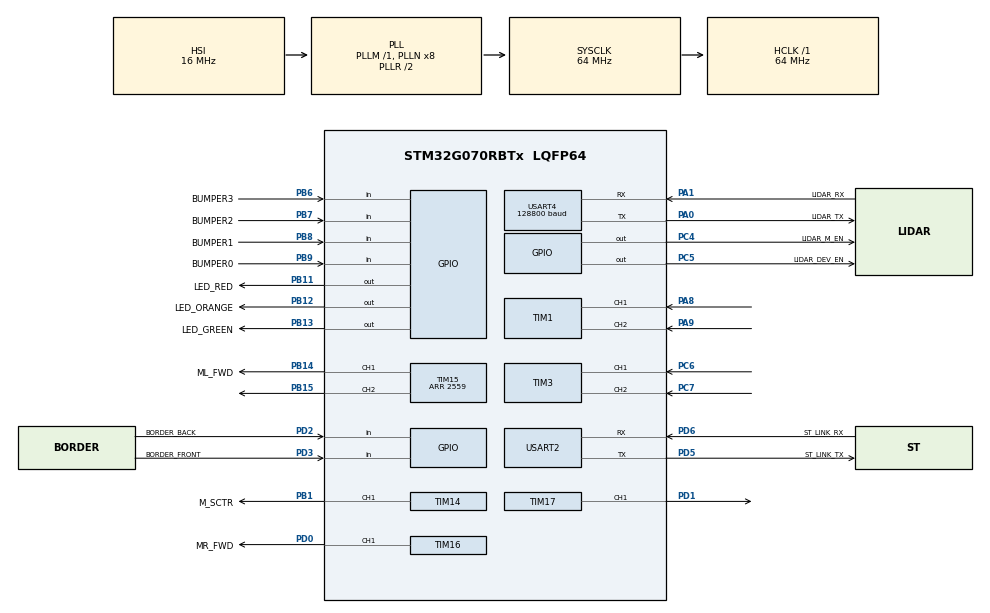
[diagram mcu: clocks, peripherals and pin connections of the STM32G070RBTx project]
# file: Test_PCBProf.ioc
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FREERTOS.Tasks01=defaultTask,0,128,StartDefaultTask,Default,NULL,Dynamic,NULL,NULL
FREERTOS.configTOTAL_HEAP_SIZE=15000
Mcu.Family=STM32G0
Mcu.Name=STM32G070RBTx
Mcu.Package=LQFP64
NVIC.TIM6_IRQn=true\:3\:0\:false\:false\:true\:false\:false\:true\:true
NVIC.TimeBase=TIM6_IRQn
NVIC.TimeBaseIP=TIM6
PA0.GPIO_Label=LIDAR_TX
PA0.Mode=Asynchronous
PA0.Signal=USART4_TX
PA1.GPIO_Label=LIDAR_RX
PA1.Mode=Asynchronous
PA1.Signal=USART4_RX
PA13.Mode=Serial_Wire
PA13.Signal=SYS_SWDIO
PA14-BOOT0.Mode=Serial_Wire
PA14-BOOT0.Signal=SYS_SWCLK
PA8.Signal=S_TIM1_CH1
PA9.Signal=S_TIM1_CH2
PB1.GPIO_Label=M_SCTR
PB1.Signal=S_TIM14_CH1
PB11.GPIO_Label=LED_RED
PB11.Signal=GPIO_Output
PB12.GPIO_Label=LED_ORANGE
PB12.Signal=GPIO_Output
PB13.GPIO_Label=LED_GREEN
PB13.Signal=GPIO_Output
PB14.GPIO_Label=ML_FWD
PB14.Signal=S_TIM15_CH1
PB15.Signal=S_TIM15_CH2
PB6.GPIO_Label=BUMPER3
PB6.Signal=GPIO_Input
PB7.GPIO_Label=BUMPER2
PB7.Signal=GPIO_Input
PB8.GPIO_Label=BUMPER1
PB8.Signal=GPIO_Input
PB9.GPIO_Label=BUMPER0
PB9.Signal=GPIO_Input
PC4.GPIO_Label=LIDAR_M_EN
PC4.Signal=GPIO_Output
PC5.GPIO_Label=LIDAR_DEV_EN
PC5.Signal=GPIO_Output
PC6.Signal=S_TIM3_CH1
PC7.Signal=S_TIM3_CH2
PD0.GPIO_Label=MR_FWD
PD0.Signal=S_TIM16_CH1
PD1.Signal=S_TIM17_CH1
PD2.GPIO_Label=BORDER_BACK
PD2.Signal=GPIO_Input
PD3.GPIO_Label=BORDER_FRONT
PD3.Signal=GPIO_Input
PD5.GPIO_Label=ST_LINK_TX
PD5.Mode=Asynchronous
PD5.Signal=USART2_TX
PD6.GPIO_Label=ST_LINK_RX
PD6.Mode=Asynchronous
PD6.Signal=USART2_RX
PF0-OSC_IN\ (PF0).Mode=HSE-External-Oscillator
PF0-OSC_IN\ (PF0).Signal=RCC_OSC_IN
PF1-OSC_OUT\ (PF1).Mode=HSE-External-Oscillator
PF1-OSC_OUT\ (PF1).Signal=RCC_OSC_OUT
ProjectManager.HeapSize=0x200
ProjectManager.StackSize=0x400
ProjectManager.TargetToolchain=STM32CubeIDE
RCC.ADCFreq_Value=64000000
RCC.AHBFreq_Value=64000000
RCC.CortexFreq_Value=64000000
RCC.EXTERNAL_CLOCK_VALUE=48000
RCC.HCLKFreq_Value=64000000
RCC.HSE_VALUE=16000000
RCC.HSI_VALUE=16000000
RCC.LSE_VALUE=32768
RCC.PLLSourceVirtual=RCC_PLLSOURCE_HSE
RCC.SYSCLKFreq_VALUE=64000000
RCC.SYSCLKSource=RCC_SYSCLKSOURCE_PLLCLK
RCC.VCOOutputFreq_Value=128000000
SH.S_TIM14_CH1.0=TIM14_CH1,PWM Generation1 CH1
SH.S_TIM15_CH1.0=TIM15_CH1,PWM Generation1 CH1
SH.S_TIM15_CH2.0=TIM15_CH2,PWM Generation2 CH2
SH.S_TIM16_CH1.0=TIM16_CH1,PWM Generation1 CH1
SH.S_TIM17_CH1.0=TIM17_CH1,PWM Generation1 CH1
SH.S_TIM1_CH1.0=TIM1_CH1,Encoder_Interface
SH.S_TIM1_CH2.0=TIM1_CH2,Encoder_Interface
SH.S_TIM3_CH1.0=TIM3_CH1,Encoder_Interface
SH.S_TIM3_CH2.0=TIM3_CH2,Encoder_Interface
TIM14.Channel=TIM_CHANNEL_1
TIM14.Period=99
TIM14.Prescaler=63
TIM15.Channel-PWM\ Generation1\ CH1=TIM_CHANNEL_1
TIM15.Channel-PWM\ Generation2\ CH2=TIM_CHANNEL_2
TIM15.Period=2559
TIM16.Channel=TIM_CHANNEL_1
TIM16.Period=2559
TIM17.Channel=TIM_CHANNEL_1
TIM17.Period=2559
USART2.VirtualMode-Asynchronous=VM_ASYNC
USART4.BaudRate=128800
USART4.VirtualMode-Asynchronous=VM_ASYNC
VP_FREERTOS_VS_CMSIS_V1.Mode=CMSIS_V1
VP_SYS_VS_tim6.Mode=TIM6
VP_TIM14_VS_ClockSourceINT.Mode=Enable_Timer
VP_TIM16_VS_ClockSourceINT.Mode=Enable_Timer
VP_TIM17_VS_ClockSourceINT.Mode=Enable_Timer
board=custom

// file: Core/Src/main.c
/* USER CODE BEGIN Header */
/**
 ******************************************************************************
 * @file           : main.c
 * @brief          : Main program body
 ******************************************************************************
 * @attention
 * Test des Bumpers / Bordure / Moteurs avec  FreeRTOS
 *
 * Copyright (c) 2023 STMicroelectronics.
 * All rights reserved.
 *
 * This software is licensed under terms that can be found in the LICENSE file
 * in the root directory of this software component.
 * If no LICENSE file comes with this software, it is provided AS-IS.
 *
 ******************************************************************************
 */
/* USER CODE END Header */
#include "main.h"
#include "cmsis_os.h"
#include "tim.h"
#include "usart.h"
#include "gpio.h"

/* USER CODE BEGIN Includes */
#include "motor_drv.h"
#include "task_motor.h"
#include "mainTask.h"
#include "pwm.h"
/* USER CODE END Includes */

/* USER CODE BEGIN PV */
PWM pwm_rev_left  = {.timer = &htim16, .channel = TIM_CHANNEL_1};
PWM pwm_fwd_left  = {.timer = &htim17, .channel = TIM_CHANNEL_1};
PWM pwm_rev_right = {.timer = &htim15, .channel = TIM_CHANNEL_1};
PWM pwm_fwd_right = {.timer = &htim15, .channel = TIM_CHANNEL_2};
/* USER CODE END PV */

void SystemClock_Config(void);
void MX_FREERTOS_Init(void);

/* USER CODE BEGIN 0 */
int __io_putchar(int chr)
{
	HAL_UART_Transmit(&huart2, (uint8_t*)&chr, 1, HAL_MAX_DELAY);
	return chr;
}

// Interruption pour les bumpers
void HAL_GPIO_EXTI_Rising_Callback(uint16_t GPIO_Pin)
{
	HAL_GPIO_TogglePin(GPIOB, LED_ORANGE_Pin);
	if(GPIO_Pin == BUMPER0_Pin || GPIO_Pin == BUMPER1_Pin
	   || GPIO_Pin == BUMPER2_Pin || GPIO_Pin == BUMPER3_Pin)
	{
		printf("Bumper\r\n");
	}

	//BaseType_t xHigherPriorityTaskWoken = pdFALSE;
//	if(GPIO_Pin == BUMPER_F_Pin) {
//		//xTaskNotifyFromISR(h_task_main, BUMPER_F_NOTIFY, eSetBits, &xHigherPriorityTaskWoken);
//	} else if(GPIO_Pin == BUMPER_B_Pin) {
//		//xTaskNotifyFromISR(h_task_main, BUMPER_B_NOTIFY, eSetBits, &xHigherPriorityTaskWoken );
//	} else if(GPIO_Pin == BUMPER_R_Pin) {
//		//xTaskNotifyFromISR(h_task_main, BUMPER_R_NOTIFY, eSetBits, &xHigherPriorityTaskWoken );
//	} else if(GPIO_Pin == BUMPER_L_Pin) {
//		//xTaskNotifyFromISR(h_task_main, BUMPER_L_NOTIFY, eSetBits, &xHigherPriorityTaskWoken );
//	} else if(GPIO_Pin == BORDER_FRONT_Pin) {
//		//xTaskNotifyFromISR(getPositionMotorTaskHandle(), BORDER_F_NOTIFY, eSetBits, &xHigherPriorityTaskWoken );
//	} else if(GPIO_Pin == BORDER_BACK_Pin) {
//		xTaskNotifyFromISR(getPositionMotorTaskHandle(), BORDER_B_NOTIFY, eSetBits, &xHigherPriorityTaskWoken );
//	}
//	portYIELD_FROM_ISR( xHigherPriorityTaskWoken );
}

void HAL_GPIO_EXTI_Falling_Callback(uint16_t GPIO_Pin)
{
	if(GPIO_Pin == BORDER_BACK_Pin || GPIO_Pin == BORDER_FRONT_Pin)
	{
		printf("Bordure\r\n");
//		stopMotor(&motor_left);
//		stopMotor(&motor_right);
	}
}

/* USER CODE END 0 */

int main(void)
{

  /* MCU Configuration--------------------------------------------------------*/

  /* Reset of all peripherals, Initializes the Flash interface and the Systick. */
  HAL_Init();

  /* Configure the system clock */
  SystemClock_Config();

  /* Initialize all configured peripherals */
  MX_GPIO_Init();
  MX_USART2_UART_Init();
  MX_USART4_UART_Init();
  MX_TIM15_Init();
  MX_TIM16_Init();
  MX_TIM17_Init();
  MX_TIM1_Init();
  MX_TIM3_Init();
  MX_TIM14_Init();
  /* USER CODE BEGIN 2 */

	if((START_PWM(pwm_rev_left) != HAL_OK) || (START_PWM(pwm_fwd_left) != HAL_OK) ||
			(START_PWM(pwm_rev_right) != HAL_OK) || (START_PWM(pwm_fwd_right) != HAL_OK))
	{
		printf("ERROR: PWM Start MOTORS\r\n");
		Error_Handler();
	}
	if((HAL_TIM_Encoder_Start(&htim1, TIM_CHANNEL_ALL) != HAL_OK) ||
			(HAL_TIM_Encoder_Start(&htim3, TIM_CHANNEL_ALL) != HAL_OK))
	{
		printf("ERROR: ENCODEUR Start MOTORS\r\n");
		Error_Handler();
	}
	// Motor struct init
	initMotor(&motor_left, &pwm_fwd_left, &pwm_rev_left, &htim3);
	initMotor(&motor_right, &pwm_fwd_right, &pwm_rev_right, &htim1);
	//
	setMotorSpeed(&motor_left, 50, FWD);
	//setMotorSpeed(&motor_right, 50, FWD);

	printf("HAL OK\r\n");

	//createMainTask();
	//asservMotorTaskCreate();
	uint32_t prevEncoder =READ_MOTOR_ENCODER(motor_left);
	uint32_t currentEncoder = 0;
	uint16_t time = 5000;

	while(1)
	{
		printf("while ok \r\n");
		HAL_Delay(time);
		currentEncoder = READ_MOTOR_ENCODER(motor_left);
		printf("current Encoder =%d, Last Encoder =%d \n\r",currentEncoder, prevEncoder);

		int speed ;
		speed =getSpeed(prevEncoder, currentEncoder, time);
		printf("speed=%d \n\r",speed);
		prevEncoder = currentEncoder;
	}

  /* USER CODE END 2 */

  /* Call init function for freertos objects (in freertos.c) */
  MX_FREERTOS_Init();

  /* Start scheduler */
  osKernelStart();

  /* We should never get here as control is now taken by the scheduler */
  /* Infinite loop */
	while (1)
	{

	}
}

void SystemClock_Config(void)
{
  RCC_OscInitTypeDef RCC_OscInitStruct = {0};
  RCC_ClkInitTypeDef RCC_ClkInitStruct = {0};

  /** Configure the main internal regulator output voltage
  */
  HAL_PWREx_ControlVoltageScaling(PWR_REGULATOR_VOLTAGE_SCALE1);

  /** Initializes the RCC Oscillators according to the specified parameters
  * in the RCC_OscInitTypeDef structure.
  */
  RCC_OscInitStruct.OscillatorType = RCC_OSCILLATORTYPE_HSI;
  RCC_OscInitStruct.HSIState = RCC_HSI_ON;
  RCC_OscInitStruct.HSIDiv = RCC_HSI_DIV1;
  RCC_OscInitStruct.HSICalibrationValue = RCC_HSICALIBRATION_DEFAULT;
  RCC_OscInitStruct.PLL.PLLState = RCC_PLL_ON;
  RCC_OscInitStruct.PLL.PLLSource = RCC_PLLSOURCE_HSI;
  RCC_OscInitStruct.PLL.PLLM = RCC_PLLM_DIV1;
  RCC_OscInitStruct.PLL.PLLN = 8;
  RCC_OscInitStruct.PLL.PLLP = RCC_PLLP_DIV2;
  RCC_OscInitStruct.PLL.PLLR = RCC_PLLR_DIV2;
  if (HAL_RCC_OscConfig(&RCC_OscInitStruct) != HAL_OK)
  {
    Error_Handler();
  }

  /** Initializes the CPU, AHB and APB buses clocks
  */
  RCC_ClkInitStruct.ClockType = RCC_CLOCKTYPE_HCLK|RCC_CLOCKTYPE_SYSCLK
                              |RCC_CLOCKTYPE_PCLK1;
  RCC_ClkInitStruct.SYSCLKSource = RCC_SYSCLKSOURCE_PLLCLK;
  RCC_ClkInitStruct.AHBCLKDivider = RCC_SYSCLK_DIV1;
  RCC_ClkInitStruct.APB1CLKDivider = RCC_HCLK_DIV1;

  if (HAL_RCC_ClockConfig(&RCC_ClkInitStruct, FLASH_LATENCY_2) != HAL_OK)
  {
    Error_Handler();
  }
}

void HAL_TIM_PeriodElapsedCallback(TIM_HandleTypeDef *htim)
{
  if (htim->Instance == TIM6) {
    HAL_IncTick();
  }
}

void Error_Handler(void)
{
	__disable_irq();
	while (1)
	{
	}
}

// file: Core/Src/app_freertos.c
/* USER CODE BEGIN Header */
/**
  ******************************************************************************
  * File Name          : app_freertos.c
  * Description        : Code for freertos applications
  ******************************************************************************
  * @attention
  *
  * Copyright (c) 2024 STMicroelectronics.
  * All rights reserved.
  *
  * This software is licensed under terms that can be found in the LICENSE file
  * in the root directory of this software component.
  * If no LICENSE file comes with this software, it is provided AS-IS.
  *
  ******************************************************************************
  */
/* USER CODE END Header */

#include "FreeRTOS.h"
#include "task.h"
#include "main.h"
#include "cmsis_os.h"

osThreadId defaultTaskHandle;

void StartDefaultTask(void const * argument);

void MX_FREERTOS_Init(void); /* (MISRA C 2004 rule 8.1) */

void MX_FREERTOS_Init(void) {

  /* Create the thread(s) */
  /* definition and creation of defaultTask */
  osThreadDef(defaultTask, StartDefaultTask, osPriorityNormal, 0, 512);
  defaultTaskHandle = osThreadCreate(osThread(defaultTask), NULL);

}

void StartDefaultTask(void const * argument)
{
  for(;;)
  {
    osDelay(1);
  }
}
